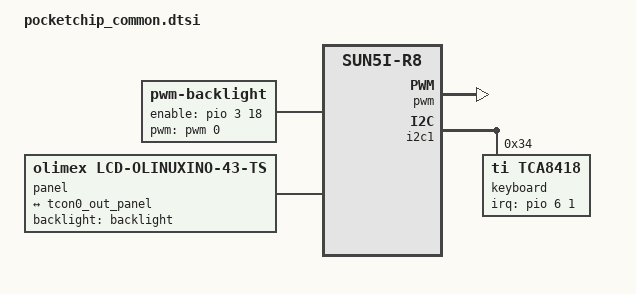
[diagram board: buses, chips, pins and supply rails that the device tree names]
#include <dt-bindings/pinctrl/sun4i-a10.h>
#include <dt-bindings/gpio/gpio.h>
#include <dt-bindings/interrupt-controller/irq.h>

// Overlay from nextthingco/dip-pocket-common.dtsi (https://github.com/ntc-chip-revived/CHIP-dt-overlays/blob/master/nextthingco/dip-pocket-common.dtsi)
// These lines are necessary for the PocketCHIP shell to work properly.

/ {
	compatible = "nextthing,chip", "allwinner,sun5i-r8";
  
  /* Pinctrl changes */
  fragment@0 {
    target = <&pio>;
    __overlay__ {
      chip_bl_en: chip_backlight_enable@0 {
        pins = "PD18";
        function = "gpio_out";
        drive = <SUN4I_PINCTRL_10_MA>;
        pull = <SUN4I_PINCTRL_NO_PULL>;
      };
    };
  };

  /* Enable the PWM */
  fragment@1 {
    target = <&pwm>;
    __overlay__ {
      pinctrl-names = "default";
      pinctrl-0 = <&pwm0_pins>;
      status = "okay";
    };
  };

  /* And enable the backlight running on that PWM */
  fragment@2 {
    target-path = "/";
    __overlay__ {
      backlight: backlight {
        compatible = "pwm-backlight";
        pwms = <&pwm 0 8000 1>;

        brightness-levels = <0 1 2 4 8 12 16 24 28 32 100>;
        default-brightness-level = <8>;

        pinctrl-names = "default";
        pinctrl-0 = <&chip_bl_en>;
        enable-gpios = <&pio 3 18 GPIO_ACTIVE_HIGH>;
      };
    };
  };

  /* Enable the I2C1 bus and the keyboard */

  fragment@3 {
    target = <&i2c1>;
    __overlay__ {
      #address-cells = <1>;
      #size-cells = <0>;
      pinctrl-names = "default";
      pinctrl-0 = <&i2c1_pins_a>;
      status = "okay";

      keyboard: keyboard@34 {
        compatible = "ti,tca8418";
        reg = <0x34>;
        interrupt-parent = <&pio>;
        interrupts = <6 1 IRQ_TYPE_LEVEL_LOW>;

        keypad,num-rows = <6>;
        keypad,num-columns = <10>;
        keypad,autorepeat;
      };
    };
  };

  /* Enable the touchscreen */
  fragment@4 {
    target = <&rtp>;
    __overlay__ {
      touchscreen-inverted-x;
      touchscreen-inverted-y;
      allwinner,ts-attached;
    };
  };

  /* Enable our panel */
  fragment@5 {
    target-path = "/";
    __overlay__ {
      panel: panel {
        #address-cells = <1>;
        #size-cells = <0>;
        compatible = "olimex,lcd-olinuxino-43-ts";
        backlight = <&backlight>;

        port@0 {
          reg = <0>;
          #address-cells = <1>;
          #size-cells = <0>;

          panel_input: endpoint@0 {
            reg = <0>;
            remote-endpoint = <&tcon0_out_panel>;
          };
        };
      };
    };
  };


  /* Link the TCON with the panel */
  fragment@6 {
    target = <&tcon0_out>;
    __overlay__ {
      #address-cells = <1>;
      #size-cells = <0>;

      tcon0_out_panel: endpoint@0 {
        reg = <0>;
        remote-endpoint = <&panel_input>;
      };
    };
  };

  /* Register the LCD pins with pinctrl */
  fragment@7 {
    target = <&tcon0>;
    __overlay__ {
      pinctrl-names = "default";
      pinctrl-0 = <&lcd_rgb565_pins>;
    };
  };

  /* PocketCHIP LED definition */
  fragment@8 {
    target-path = "/leds/status";

    __overlay__ {
      linux,default-trigger = "default-on";
    };
  };
};
